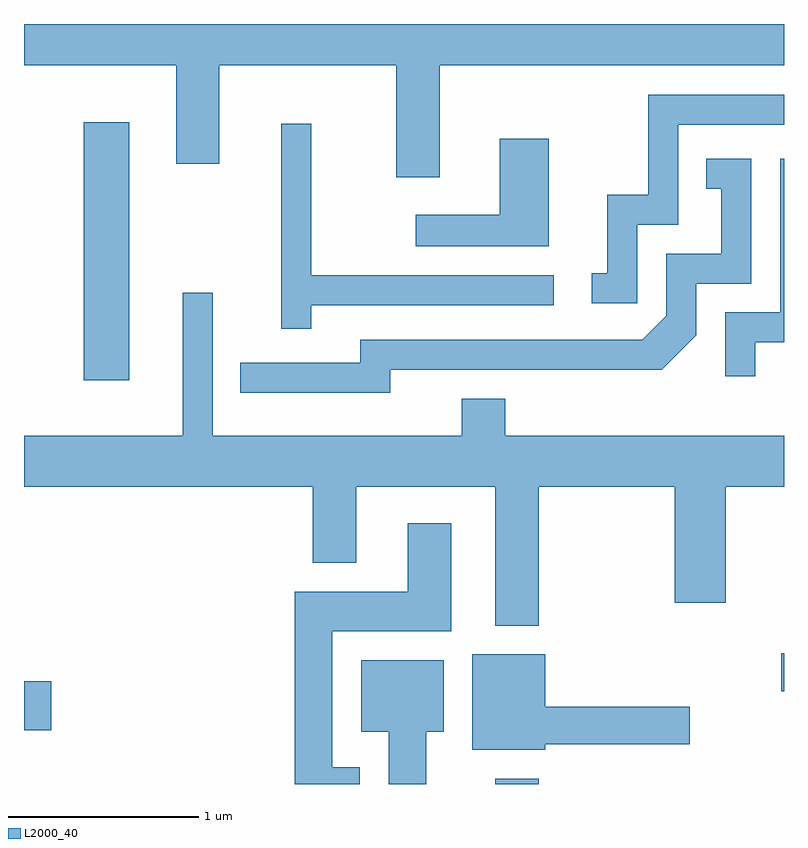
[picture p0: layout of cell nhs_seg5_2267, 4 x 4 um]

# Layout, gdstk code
import gdstk
lib = gdstk.Library(unit=1e-6, precision=1e-09)
def R(c, l, rs):  # rectangles x0, y0, x1, y1
    for r in rs: c.add(gdstk.rectangle(r[:2], r[2:], *l))
def P(c, l, *ps):  # polygons
    for p in ps: c.add(gdstk.Polygon(p, *l))
L2000_40 = (2000, 40)

nhs_seg5_2267 = lib.new_cell('nhs_seg5_2267')
R(nhs_seg5_2267, L2000_40, [(254.091,1504.072,254.319,1504.099), (251.611,1504.356,251.754,1504.614), (255.596,1504.561,255.611,1504.759), (251.926,1506.196,252.164,1507.554)])
P(nhs_seg5_2267, L2000_40, [(253.799,1507.856),(255.611,1507.856),(255.611,1508.072),(251.611,1508.072),(251.611,1507.856),(252.411,1507.856),(252.411,1507.336),(252.639,1507.336),(252.639,1507.856),(253.571,1507.856),(253.571,1507.266),(253.799,1507.266)],
  [(254.839,1507.016),(255.054,1507.016),(255.054,1507.541),(255.611,1507.541),(255.611,1507.699),(254.896,1507.699),(254.896,1507.174),(254.681,1507.174),(254.681,1506.759),(254.598,1506.759),(254.598,1506.601),(254.839,1506.601)],
  [(253.124,1506.591),(254.398,1506.591),(254.398,1506.749),(253.124,1506.749),(253.124,1507.548),(252.966,1507.548),(252.966,1506.468),(253.124,1506.468)],
  [(254.374,1507.469),(254.116,1507.469),(254.116,1507.069),(253.673,1507.069),(253.673,1506.901),(254.374,1506.901)],
  [(253.539,1506.251),(254.967,1506.251),(255.149,1506.434),(255.149,1506.706),(255.439,1506.706),(255.439,1507.364),(255.203,1507.364),(255.203,1507.206),(255.281,1507.206),(255.281,1506.864),(254.991,1506.864),(254.991,1506.537),(254.864,1506.409),(253.381,1506.409),(253.381,1506.289),(252.748,1506.289),(252.748,1506.131),(253.539,1506.131)],
  [(255.459,1506.396),(255.611,1506.396),(255.611,1507.364),(255.591,1507.364),(255.591,1506.554),(255.301,1506.554),(255.301,1506.218),(255.459,1506.218)],
  [(252.604,1506.658),(252.446,1506.658),(252.446,1505.904),(251.611,1505.904),(251.611,1505.636),(253.131,1505.636),(253.131,1505.236),(253.359,1505.236),(253.359,1505.636),(254.091,1505.636),(254.091,1504.906),(254.319,1504.906),(254.319,1505.636),(255.036,1505.636),(255.036,1505.026),(255.304,1505.026),(255.304,1505.636),(255.611,1505.636),(255.611,1505.904),(254.144,1505.904),(254.144,1506.099),(253.916,1506.099),(253.916,1505.904),(252.604,1505.904)],
  [(253.379,1504.159),(253.234,1504.159),(253.234,1504.876),(253.859,1504.876),(253.859,1505.444),(253.631,1505.444),(253.631,1505.084),(253.036,1505.084),(253.036,1504.072),(253.379,1504.072)],
  [(254.354,1504.281),(255.114,1504.281),(255.114,1504.479),(254.354,1504.479),(254.354,1504.754),(253.971,1504.754),(253.971,1504.251),(254.354,1504.251)],
  [(253.729,1504.346),(253.819,1504.346),(253.819,1504.724),(253.386,1504.724),(253.386,1504.346),(253.531,1504.346),(253.531,1504.072),(253.729,1504.072)])

lib.write_gds('nhs_seg5_2267.gds')
